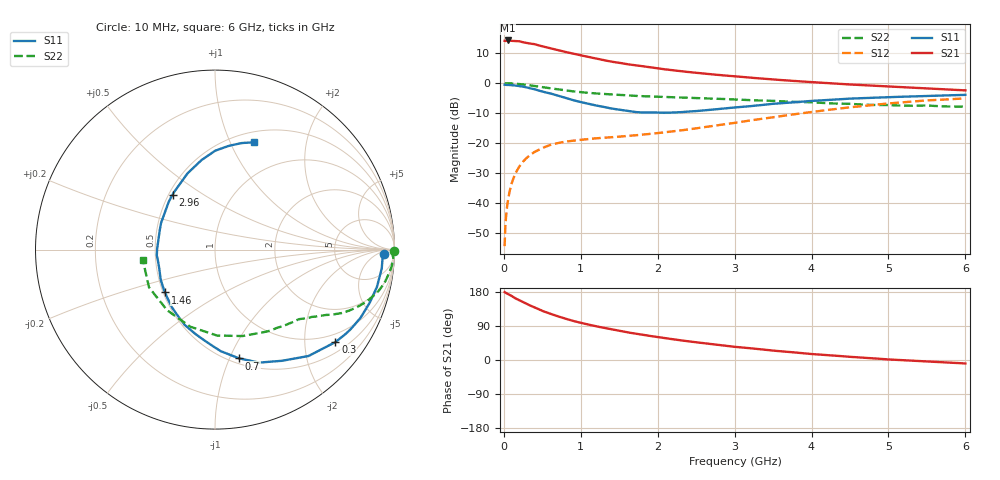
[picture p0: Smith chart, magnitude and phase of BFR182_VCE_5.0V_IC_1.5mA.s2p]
! Infineon Technologies  Discrete & RF Semiconductors
! BFR182
! VCE =  5.0 V,  IC =  1.5 mA
! Common Emitter S-Parameters:  Nov 2015
# GHz  S  MA  R  50
!  f  S11  S21  S12  S22
! GHz  MAG  ANG  MAG  ANG  MAG  ANG  MAG  ANG
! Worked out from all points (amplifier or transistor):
!   210 points, 10 MHz to 6 GHz, reference 50 ohm
!   highest |S21| = 14.2 dB at 50 MHz (marker M1)
!   |S21| within 3 dB of that: start of sweep to 665.5 MHz
!   unconditionally stable (mu >= 1): 1.615 GHz to 3.198 GHz
!   at 185 MHz: K = 0.15, MSG = 21.3 dB, |S12| = -28.5 dB
!   at 1.52 GHz: K = 0.96, MSG = 12.3 dB, |S12| = -17.8 dB
!   at 6 GHz: K = 0.91, MSG = 1.3 dB, |S12| = -5.1 dB
!   S11 on the Smith chart (normalised r, x): 10 MHz: 28, -11; 300 MHz: 0.76, -2.76; 700 MHz: 0.55, -1.09; 1.46 GHz: 0.51, -0.28; 2.96 GHz: 0.52, +0.38; 6 GHz: 0.61, +1.23
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0.01  0.9397 -1.4  5.071 179.1  0.0019 87.2  0.9968 -0.6
0.02  0.9348 -2.4  5.033 177.6  0.0042 88.5  0.9862 -1.0
0.025  0.9345 -3.1  5.051 177.1  0.0052 88.2  0.9875 -1.3
0.05  0.935 -6.4  5.147 174.5  0.0103 87.7  0.9946 -2.7
0.105  0.9242 -13.5  5.072 168.6  0.0218 80.9  0.9879 -5.6
0.15  0.9116 -18.9  5.034 162.8  0.0308 78.1  0.9776 -8.0
0.2  0.8952 -25.2  4.987 157.7  0.0402 75.2  0.9651 -10.5
0.3  0.8461 -37.5  4.669 147.5  0.057 68.7  0.9338 -14.9
0.4  0.7892 -48.7  4.459 138.6  0.0711 62.5  0.8945 -18.8
0.5  0.7229 -59.0  4.111 129.5  0.0824 58.0  0.8539 -22.1
0.7  0.6209 -77.5  3.564 115.4  0.0996 51.2  0.7876 -26.7
0.88  0.5281 -93.0  3.147 104.3  0.1089 47.4  0.734 -29.6
1.02  0.4755 -104.8  2.874 97.1  0.1139 45.6  0.7018 -31.5
1.2  0.4228 -119.5  2.564 88.8  0.1197 44.4  0.6717 -33.8
1.46  0.3665 -139.4  2.22 78.8  0.1265 44.9  0.6399 -36.5
1.7  0.3299 -159.4  1.996 69.9  0.1338 47.1  0.6125 -39.1
2.02  0.3216 177.9  1.742 59.9  0.1474 49.8  0.5922 -43.0
2.96  0.3872 127.6  1.311 35.8  0.2135 56.0  0.5359 -58.9
3.1  0.4009 122.5  1.266 33.0  0.2273 55.9  0.5258 -62.1
4.1  0.5125 96.7  1.02 14.4  0.3421 50.5  0.4695 -92.2
5.1  0.5878 81.1  0.868 0.5  0.4682 37.5  0.4241 -132.5
6  0.6364 70.0  0.756 -9.1  0.5558 22.4  0.4063 -171.8
